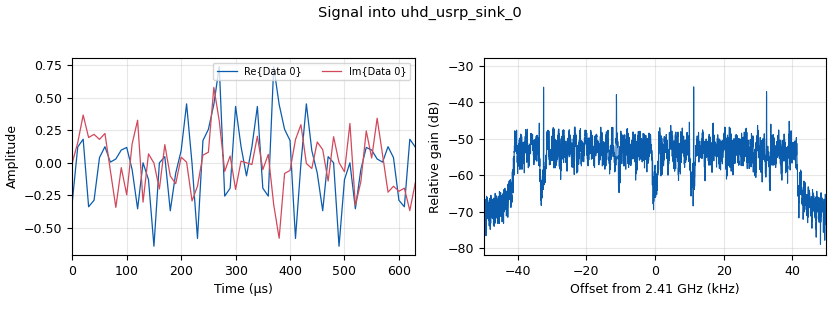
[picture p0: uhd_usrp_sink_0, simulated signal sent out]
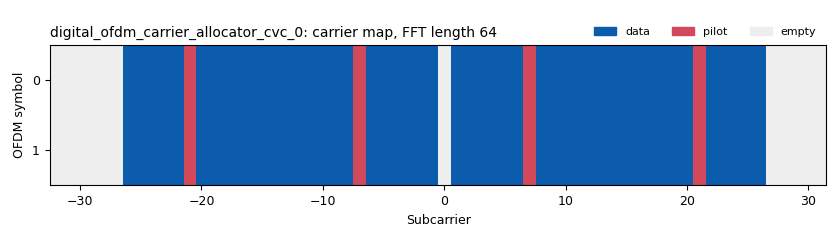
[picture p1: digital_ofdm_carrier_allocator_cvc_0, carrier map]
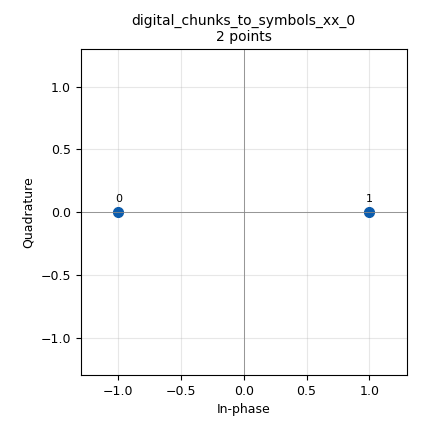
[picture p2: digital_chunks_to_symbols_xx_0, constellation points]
options:
  parameters:
    author: alvaro
    generate_options: qt_gui
    id: primary_user
    output_language: python
    title: PRIMARY USER
  states: {}

blocks:
- name: fft_len
  id: variable
  parameters:
    value: '64'
  states: {}
- name: hdr_format
  id: variable
  parameters:
    value: digital.header_format_ofdm(occupied_carriers, 1, length_tag_key,)
  states: {}
- name: header_equalizer
  id: variable
  parameters:
    value: digital.ofdm_equalizer_simpledfe(fft_len, header_mod.base(), occupied_carriers, pilot_carriers, pilot_symbols)
  states: {}
- name: header_formatter
  id: variable
  parameters:
    value: digital.packet_header_ofdm(occupied_carriers, n_syms=1, len_tag_key=packet_length_tag_key, frame_len_tag_key=length_tag_key, bits_per_header_sym=header_mod.bits_per_symbol(), bits_per_payload_sym=payload_mod.bits_per_symbol(), scramble_header=False)
  states: {}
- name: header_mod
  id: variable
  parameters:
    value: digital.constellation_bpsk()
  states: {}
- name: length_tag_key
  id: variable
  parameters:
    value: '"packet_len"'
  states: {}
- name: occupied_carriers
  id: variable
  parameters:
    value: (list(range(-26, -21)) + list(range(-20, -7)) + list(range(-6, 0)) + list(range(1, 7)) + list(range(8, 21)) + list(range(22, 27)),)
  states: {}
- name: packet_len
  id: variable
  parameters:
    value: '125'
  states: {}
- name: packet_length_tag_key
  id: variable
  parameters:
    value: '"packet_len"'
  states: {}
- name: payload_equalizer
  id: variable
  parameters:
    value: digital.ofdm_equalizer_simpledfe(fft_len, payload_mod.base(), occupied_carriers, pilot_carriers, pilot_symbols, 1)
  states: {}
- name: payload_mod
  id: variable
  parameters:
    value: digital.constellation_bpsk()
  states: {}
- name: pilot_carriers
  id: variable
  parameters:
    value: ((-21, -7, 7, 21,),)
  states: {}
- name: pilot_symbols
  id: variable
  parameters:
    value: ((1, 1, 1, -1,),)
  states: {}
- name: primary_freq
  id: variable_qtgui_chooser
  parameters:
    label: PRIMARY TX FREQ
    label0: 'Ch1: 2.41 GHz'
    label1: 'Ch2: 2.42 GHz'
    label2: 'Ch3: 2.43 GHz'
    label3: 'Ch4: 2.44 GHz'
    label4: 'Ch5: 2.45 GHz'
    num_opts: '5'
    option0: '2410000000'
    option1: '2420000000'
    option2: '2430000000'
    option3: '2440000000'
    option4: '2450000000'
    type: int
    value: '2410000000'
    widget: radio_buttons
  states: {}
- name: primary_gain
  id: variable_qtgui_entry
  parameters:
    label: PRIMARY GAIN
    type: real
    value: '50'
  states: {}
- name: rolloff
  id: variable
  parameters:
    value: '0'
  states: {}
- name: samp_rate
  id: variable
  parameters:
    value: '100000'
  states: {}
- name: sync_word1
  id: variable
  parameters:
    value: '[0., 0., 0., 0., 0., 0., 0., 1.41421356, 0., -1.41421356, 0., 1.41421356, 0., -1.41421356, 0., -1.41421356, 0., -1.41421356, 0., 1.41421356, 0., -1.41421356, 0., 1.41421356, 0., -1.41421356, 0., -1.41421356, 0., -1.41421356, 0., -1.41421356, 0., 1.41421356, 0., -1.41421356, 0., 1.41421356, 0., 1.41421356, 0., 1.41421356, 0., -1.41421356, 0., 1.41421356, 0., 1.41421356, 0., 1.41421356, 0., -1.41421356, 0., 1.41421356, 0., 1.41421356, 0., 1.41421356, 0., 0., 0., 0., 0., 0.]'
  states: {}
- name: sync_word2
  id: variable
  parameters:
    value: '[0, 0, 0, 0, 0, 0, -1, -1, -1, -1, 1, 1, -1, -1, -1, 1, -1, 1, 1, 1, 1, 1, -1, -1, -1, -1, -1, 1, -1, -1, 1, -1, 0, 1, -1, 1, 1, 1, -1, 1, 1, 1, -1, 1, 1, 1, 1, -1, 1, -1, -1, -1, 1, -1, 1, -1, -1, -1, -1, 0, 0, 0, 0, 0] '
  states: {}
- name: analog_frequency_modulator_fc_0_0_0_0
  id: analog_frequency_modulator_fc
  parameters:
    sensitivity: '-2.0/fft_len'
  states: {}
- name: analog_random_source_x_0
  id: analog_random_source_x
  parameters:
    max: '255'
    min: '0'
    num_samps: '1000'
    repeat: 'True'
    type: byte
  states: {}
- name: blocks_delay_0_0_0_0
  id: blocks_delay
  parameters:
    delay: fft_len+fft_len//4
    type: complex
  states: {}
- name: blocks_message_debug_0_0_0
  id: blocks_message_debug
  parameters: {}
  states: {state: disabled}
- name: blocks_multiply_const_vxx_0
  id: blocks_multiply_const_vxx
  parameters:
    const: '50e-3'
    type: complex
  states: {}
- name: blocks_multiply_xx_0_0_0_0
  id: blocks_multiply_xx
  parameters:
    type: complex
  states: {}
- name: blocks_repack_bits_bb_0_0_1
  id: blocks_repack_bits_bb
  parameters:
    endianness: gr.GR_LSB_FIRST
    k: '8'
    l: '1'
    len_tag_key: length_tag_key
  states: {}
- name: blocks_repack_bits_bb_0_1_0_0_0
  id: blocks_repack_bits_bb
  parameters:
    align_output: 'True'
    endianness: gr.GR_LSB_FIRST
    k: payload_mod.bits_per_symbol()
    l: '8'
    len_tag_key: packet_length_tag_key
  states: {}
- name: blocks_repack_bits_bb_0_2
  id: blocks_repack_bits_bb
  parameters:
    endianness: gr.GR_LSB_FIRST
    k: '8'
    l: payload_mod.bits_per_symbol()
    len_tag_key: length_tag_key
  states: {}
- name: blocks_stream_to_tagged_stream_0
  id: blocks_stream_to_tagged_stream
  parameters:
    len_tag_key: length_tag_key
    packet_len: packet_len
    type: byte
  states: {}
- name: blocks_tag_gate_0
  id: blocks_tag_gate
  parameters:
    propagate_tags: 'True'
    type: complex
  states: {}
- name: blocks_tagged_stream_mux_0
  id: blocks_tagged_stream_mux
  parameters:
    lengthtagname: length_tag_key
    ninputs: '2'
    type: complex
  states: {}
- name: blocks_tagged_stream_to_pdu_0_0
  id: blocks_tagged_stream_to_pdu
  parameters:
    tag: length_tag_key
    type: byte
  states: {}
- name: digital_chunks_to_symbols_xx_0
  id: digital_chunks_to_symbols_xx
  parameters:
    dimension: '1'
    in_type: byte
    out_type: complex
    symbol_table: header_mod.points()
  states: {}
- name: digital_chunks_to_symbols_xx_0_0
  id: digital_chunks_to_symbols_xx
  parameters:
    dimension: '1'
    in_type: byte
    out_type: complex
    symbol_table: payload_mod.points()
  states: {}
- name: digital_constellation_decoder_cb_0_0_0_0
  id: digital_constellation_decoder_cb
  parameters:
    constellation: header_mod.base()
  states: {}
- name: digital_constellation_decoder_cb_1_0_0_0
  id: digital_constellation_decoder_cb
  parameters:
    constellation: payload_mod.base()
  states: {}
- name: digital_header_payload_demux_0_0_0_0
  id: digital_header_payload_demux
  parameters:
    guard_interval: fft_len//4
    header_len: '3'
    header_padding: '0'
    items_per_symbol: fft_len
    length_tag_key: length_tag_key
    output_symbols: 'True'
    samp_rate: samp_rate
    special_tags: ()
    timing_tag_key: '"rx_time"'
    type: complex
  states: {}
- name: digital_ofdm_carrier_allocator_cvc_0
  id: digital_ofdm_carrier_allocator_cvc
  parameters:
    fft_len: fft_len
    len_tag_key: length_tag_key
    occupied_carriers: occupied_carriers
    output_is_shifted: 'True'
    pilot_carriers: pilot_carriers
    pilot_symbols: pilot_symbols
    sync_words: (sync_word1, sync_word2)
  states: {}
- name: digital_ofdm_chanest_vcvc_0_0_0_0
  id: digital_ofdm_chanest_vcvc
  parameters:
    force_one_symbol: 'False'
    max_carr_offset: '3'
    n_data_symbols: '1'
    sync_symbol1: sync_word1
    sync_symbol2: sync_word2
  states: {}
- name: digital_ofdm_cyclic_prefixer_0
  id: digital_ofdm_cyclic_prefixer
  parameters:
    cp_len: fft_len//4
    input_size: fft_len
    rolloff: rolloff
    tagname: length_tag_key
  states: {}
- name: digital_ofdm_frame_equalizer_vcvc_0_0_0_0
  id: digital_ofdm_frame_equalizer_vcvc
  parameters:
    cp_len: fft_len//4
    equalizer: header_equalizer.base()
    fft_len: fft_len
    fixed_frame_len: '1'
    len_tag_key: length_tag_key
    propagate_channel_state: 'True'
  states: {}
- name: digital_ofdm_frame_equalizer_vcvc_1_0_0_0
  id: digital_ofdm_frame_equalizer_vcvc
  parameters:
    cp_len: fft_len//4
    equalizer: payload_equalizer.base()
    fft_len: fft_len
    len_tag_key: length_tag_key
    propagate_channel_state: 'True'
  states: {}
- name: digital_ofdm_serializer_vcc_header_0_0_0
  id: digital_ofdm_serializer_vcc
  parameters:
    carr_offset_key: ''
    fft_len: fft_len
    len_tag_key: length_tag_key
    occupied_carriers: occupied_carriers
    packet_len_tag_key: ''
  states: {}
- name: digital_ofdm_serializer_vcc_payload_0_0_0
  id: digital_ofdm_serializer_vcc
  parameters:
    carr_offset_key: ''
    fft_len: fft_len
    len_tag_key: length_tag_key
    occupied_carriers: occupied_carriers
    packet_len_tag_key: packet_length_tag_key
    symbols_skipped: '1'
  states: {}
- name: digital_ofdm_sync_sc_cfb_0_0_0_0
  id: digital_ofdm_sync_sc_cfb
  parameters:
    cp_len: fft_len//4
    fft_len: fft_len
    threshold: '0.9'
  states: {}
- name: digital_packet_headerparser_b_0_0_0_0
  id: digital_packet_headerparser_b
  parameters:
    header_formatter: header_formatter.base()
  states: {}
- name: digital_protocol_formatter_bb_0
  id: digital_protocol_formatter_bb
  parameters:
    format: hdr_format
    len_tag_key: length_tag_key
  states: {}
- name: fec_ber_bf_0
  id: fec_ber_bf
  parameters:
    test_mode: 'False'
  states: {}
- name: fft_vxx_0
  id: fft_vxx
  parameters:
    fft_size: fft_len
    forward: 'False'
    shift: 'True'
    type: complex
    window: ()
  states: {}
- name: fft_vxx_0_0_0_0_0
  id: fft_vxx
  parameters:
    fft_size: fft_len
    forward: 'True'
    shift: 'True'
    type: complex
    window: ()
  states: {}
- name: fft_vxx_1_0_0_0
  id: fft_vxx
  parameters:
    fft_size: fft_len
    forward: 'True'
    shift: 'True'
    type: complex
    window: ()
  states: {}
- name: header_bits
  id: virtual_sink
  parameters:
    stream_id: Header Bits B210 TX
  states: {}
- name: import_1
  id: import
  parameters:
    imports: from gnuradio.digital.utils import tagged_streams
  states: {}
- name: qtgui_number_sink_0
  id: qtgui_number_sink
  parameters:
    graph_type: qtgui.NUM_GRAPH_HORIZ
    type: float
  states: {}
- name: qtgui_sink_x_0
  id: qtgui_sink_x
  parameters:
    bw: '50000'
    fc: primary_freq
    fftsize: '512'
    name: PRIMARY TX
    type: complex
    wintype: firdes.WIN_BLACKMAN_hARRIS
  states: {}
- name: qtgui_time_sink_x_0_0
  id: qtgui_time_sink_x
  parameters:
    name: B200 SU
    size: '1024'
    srate: samp_rate
    type: complex
  states: {state: disabled}
- name: uhd_usrp_sink_0
  id: uhd_usrp_sink
  parameters:
    ant0: TX/RX
    center_freq0: primary_freq
    dev_addr: serial=F5C243
    dev_args: '""'
    gain0: primary_gain
    len_tag_name: ''
    norm_gain0: 'False'
    samp_rate: samp_rate
    sync: sync
    type: fc32
  states: {}
- name: uhd_usrp_source_0
  id: uhd_usrp_source
  parameters:
    ant0: RX2
    center_freq0: primary_freq
    dc_offs_enb0: '""'
    dev_addr: serial=F5C243
    dev_args: '""'
    gain0: primary_gain
    iq_imbal_enb0: '""'
    norm_gain0: 'False'
    samp_rate: samp_rate
    sync: sync
    type: fc32
  states: {}
- name: virtual_sink_0
  id: virtual_sink
  parameters:
    stream_id: Time Domain B210 TX
  states: {state: disabled}
- name: virtual_sink_0_0
  id: virtual_sink
  parameters:
    stream_id: Payload Bits B210 TX
  states: {}
- name: virtual_sink_0_0_0
  id: virtual_sink
  parameters:
    stream_id: Pre-OFDM B210 TX
  states: {}
- name: virtual_sink_0_1_0_0_0
  id: virtual_sink
  parameters:
    stream_id: Header Stream B210 RX2
  states: {}
- name: virtual_sink_1_0_0_0_0_0
  id: virtual_sink
  parameters:
    stream_id: RX Bytes Sink
  states: {}
- name: virtual_sink_1_0_0_0_0_0_0
  id: virtual_sink
  parameters:
    stream_id: TX Bytes Sink
  states: {}
- name: virtual_sink_1_0_0_0_1
  id: virtual_sink
  parameters:
    stream_id: Payload IQ B210 RX2
  states: {}
- name: virtual_sink_1_0_0_0_2_0
  id: virtual_sink
  parameters:
    stream_id: TX Bytes Sink
  states: {state: disabled}
- name: virtual_sink_1_1_0_0
  id: virtual_sink
  parameters:
    stream_id: Payload Stream B210 RX2
  states: {}
- name: virtual_source_0
  id: virtual_source
  parameters:
    stream_id: Header Bits B210 TX
  states: {}
- name: virtual_source_0_0
  id: virtual_source
  parameters:
    stream_id: Payload Bits B210 TX
  states: {}
- name: virtual_source_0_0_0
  id: virtual_source
  parameters:
    stream_id: Pre-OFDM B210 TX
  states: {}
- name: virtual_source_0_0_1_0_0_0
  id: virtual_source
  parameters:
    stream_id: Payload IQ B210 RX2
  states: {}
- name: virtual_source_0_1_0
  id: virtual_source
  parameters:
    stream_id: TX Bytes Sink
  states: {}
- name: virtual_source_0_1_0_0_0
  id: virtual_source
  parameters:
    stream_id: Header Stream B210 RX2
  states: {}
- name: virtual_source_0_1_0_1
  id: virtual_source
  parameters:
    stream_id: RX Bytes Sink
  states: {}
- name: virtual_source_1_0_0_0
  id: virtual_source
  parameters:
    stream_id: Payload Stream B210 RX2
  states: {}

connections:
- [analog_frequency_modulator_fc_0_0_0_0, '0', blocks_multiply_xx_0_0_0_0, '0']
- [analog_random_source_x_0, '0', blocks_stream_to_tagged_stream_0, '0']
- [analog_random_source_x_0, '0', virtual_sink_1_0_0_0_0_0, '0']
- [analog_random_source_x_0, '0', virtual_sink_1_0_0_0_0_0_0, '0']
- [analog_random_source_x_0, '0', virtual_sink_1_0_0_0_2_0, '0']
- [blocks_delay_0_0_0_0, '0', blocks_multiply_xx_0_0_0_0, '1']
- [blocks_multiply_const_vxx_0, '0', blocks_tag_gate_0, '0']
- [blocks_multiply_xx_0_0_0_0, '0', digital_header_payload_demux_0_0_0_0, '0']
- [blocks_repack_bits_bb_0_0_1, '0', header_bits, '0']
- [blocks_repack_bits_bb_0_1_0_0_0, '0', blocks_tagged_stream_to_pdu_0_0, '0']
- [blocks_repack_bits_bb_0_2, '0', virtual_sink_0_0, '0']
- [blocks_stream_to_tagged_stream_0, '0', blocks_repack_bits_bb_0_2, '0']
- [blocks_stream_to_tagged_stream_0, '0', digital_protocol_formatter_bb_0, '0']
- [blocks_tag_gate_0, '0', uhd_usrp_sink_0, '0']
- [blocks_tag_gate_0, '0', virtual_sink_0, '0']
- [blocks_tagged_stream_mux_0, '0', virtual_sink_0_0_0, '0']
- [blocks_tagged_stream_to_pdu_0_0, pdus, blocks_message_debug_0_0_0, print_pdu]
- [digital_chunks_to_symbols_xx_0, '0', blocks_tagged_stream_mux_0, '0']
- [digital_chunks_to_symbols_xx_0_0, '0', blocks_tagged_stream_mux_0, '1']
- [digital_constellation_decoder_cb_0_0_0_0, '0', digital_packet_headerparser_b_0_0_0_0, '0']
- [digital_constellation_decoder_cb_1_0_0_0, '0', blocks_repack_bits_bb_0_1_0_0_0, '0']
- [digital_header_payload_demux_0_0_0_0, '0', virtual_sink_0_1_0_0_0, '0']
- [digital_header_payload_demux_0_0_0_0, '1', virtual_sink_1_1_0_0, '0']
- [digital_ofdm_carrier_allocator_cvc_0, '0', fft_vxx_0, '0']
- [digital_ofdm_chanest_vcvc_0_0_0_0, '0', digital_ofdm_frame_equalizer_vcvc_0_0_0_0, '0']
- [digital_ofdm_cyclic_prefixer_0, '0', blocks_multiply_const_vxx_0, '0']
- [digital_ofdm_frame_equalizer_vcvc_0_0_0_0, '0', digital_ofdm_serializer_vcc_header_0_0_0, '0']
- [digital_ofdm_frame_equalizer_vcvc_1_0_0_0, '0', digital_ofdm_serializer_vcc_payload_0_0_0, '0']
- [digital_ofdm_serializer_vcc_header_0_0_0, '0', digital_constellation_decoder_cb_0_0_0_0, '0']
- [digital_ofdm_serializer_vcc_payload_0_0_0, '0', virtual_sink_1_0_0_0_1, '0']
- [digital_ofdm_sync_sc_cfb_0_0_0_0, '0', analog_frequency_modulator_fc_0_0_0_0, '0']
- [digital_ofdm_sync_sc_cfb_0_0_0_0, '1', digital_header_payload_demux_0_0_0_0, '1']
- [digital_packet_headerparser_b_0_0_0_0, header_data, digital_header_payload_demux_0_0_0_0, header_data]
- [digital_protocol_formatter_bb_0, '0', blocks_repack_bits_bb_0_0_1, '0']
- [fec_ber_bf_0, '0', qtgui_number_sink_0, '0']
- [fft_vxx_0, '0', digital_ofdm_cyclic_prefixer_0, '0']
- [fft_vxx_0_0_0_0_0, '0', digital_ofdm_chanest_vcvc_0_0_0_0, '0']
- [fft_vxx_1_0_0_0, '0', digital_ofdm_frame_equalizer_vcvc_1_0_0_0, '0']
- [uhd_usrp_source_0, '0', blocks_delay_0_0_0_0, '0']
- [uhd_usrp_source_0, '0', digital_ofdm_sync_sc_cfb_0_0_0_0, '0']
- [uhd_usrp_source_0, '0', qtgui_sink_x_0, '0']
- [virtual_source_0, '0', digital_chunks_to_symbols_xx_0, '0']
- [virtual_source_0_0, '0', digital_chunks_to_symbols_xx_0_0, '0']
- [virtual_source_0_0_0, '0', digital_ofdm_carrier_allocator_cvc_0, '0']
- [virtual_source_0_0_1_0_0_0, '0', digital_constellation_decoder_cb_1_0_0_0, '0']
- [virtual_source_0_0_1_0_0_0, '0', qtgui_time_sink_x_0_0, '0']
- [virtual_source_0_1_0, '0', fec_ber_bf_0, '0']
- [virtual_source_0_1_0_0_0, '0', fft_vxx_0_0_0_0_0, '0']
- [virtual_source_0_1_0_1, '0', fec_ber_bf_0, '1']
- [virtual_source_1_0_0_0, '0', fft_vxx_1_0_0_0, '0']

metadata:
  file_format: 1
